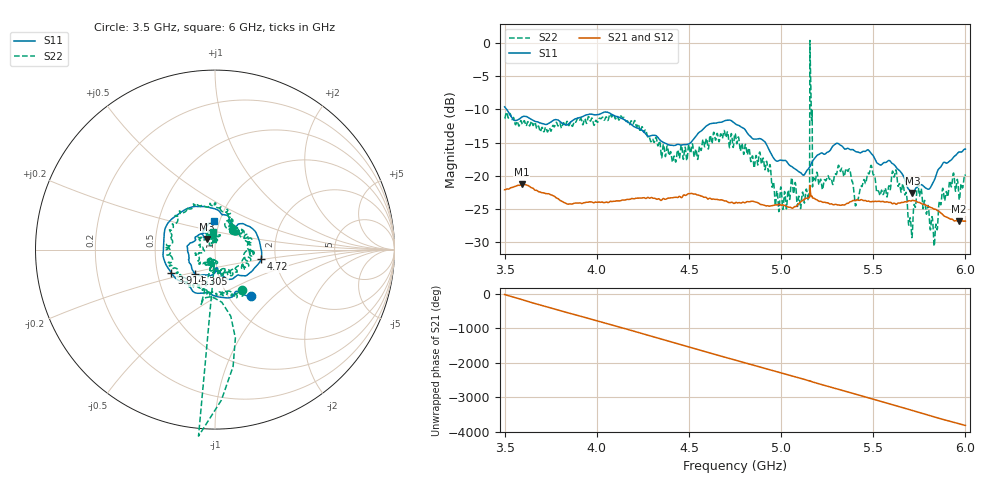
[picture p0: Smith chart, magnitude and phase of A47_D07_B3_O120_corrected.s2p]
! Created with skrf 1.9.0 (http://scikit-rf.org).
# Hz S RI R 50.0
!freq ReS11 ImS11 ReS21 ImS21 ReS12 ImS12 ReS22 ImS22
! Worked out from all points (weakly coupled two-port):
!   1601 points, 3.5 GHz to 6 GHz, reference 50 ohm
!   highest |S21| = -21.28 dB at 3.594 GHz (marker M1); lowest = -26.9 dB at 5.966 GHz (marker M2)
!   lowest |S11| = -22.6 dB at 5.713 GHz (marker M3), VSWR 1.16, Z = 45.4 + j5.4 ohm
!   |S11| at or under -10 dB: 3.511 GHz to end of sweep
!   |S22| runs from -30.6 to 0.4 dB; largest |S21 - S12| = 0.00096
!   S11 on the Smith chart (normalised r, x): 3.5 GHz: 1.27, -0.74; 3.914 GHz: 0.59, -0.16; 4.72 GHz: 1.68, -0.19; 5.305 GHz: 0.77, -0.22; 6 GHz: 0.94, +0.31
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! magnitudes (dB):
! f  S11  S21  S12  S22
! 3.5 GHz  -9.6  -22.1  -22.1  -11.4
! 3.594 GHz  -11.2  -21.3  -21.3  -12.1
! 3.914 GHz  -11.2  -24.1  -24.1  -11.4
! 3.917 GHz  -11.2  -24.2  -24.1  -11.6
! 4.334 GHz  -14.3  -23.5  -23.4  -15.3
! 4.72 GHz  -11.6  -24.1  -24.1  -15.8
! 4.75 GHz  -12.1  -24.1  -24.0  -13.6
! 5.098 GHz  -19.4  -24.1  -24.1  -23.2
! 5.142 GHz  -19.1  -23.4  -23.3  -22.7
! 5.167 GHz  -18.0  -23.1  -23.1  -11.1
! 5.183 GHz  -17.3  -23.5  -23.4  -20.8
! 5.305 GHz  -15.1  -24.4  -24.3  -19.2
! 5.409 GHz  -16.4  -23.6  -23.6  -23.7
! 5.483 GHz  -16.4  -23.9  -23.9  -19.0
! 5.584 GHz  -17.7  -24.0  -24.0  -21.5
! 5.616 GHz  -18.4  -24.1  -24.1  -20.1
! 5.713 GHz  -22.6  -23.7  -23.6  -28.6
! 5.75 GHz  -21.5  -24.0  -24.0  -23.0
! 5.838 GHz  -20.2  -25.0  -25.0  -27.8
! 5.869 GHz  -18.6  -25.6  -25.6  -24.1
! 5.966 GHz  -16.4  -26.9  -26.8  -23.4
! 6 GHz  -16.0  -26.8  -26.8  -20.0
